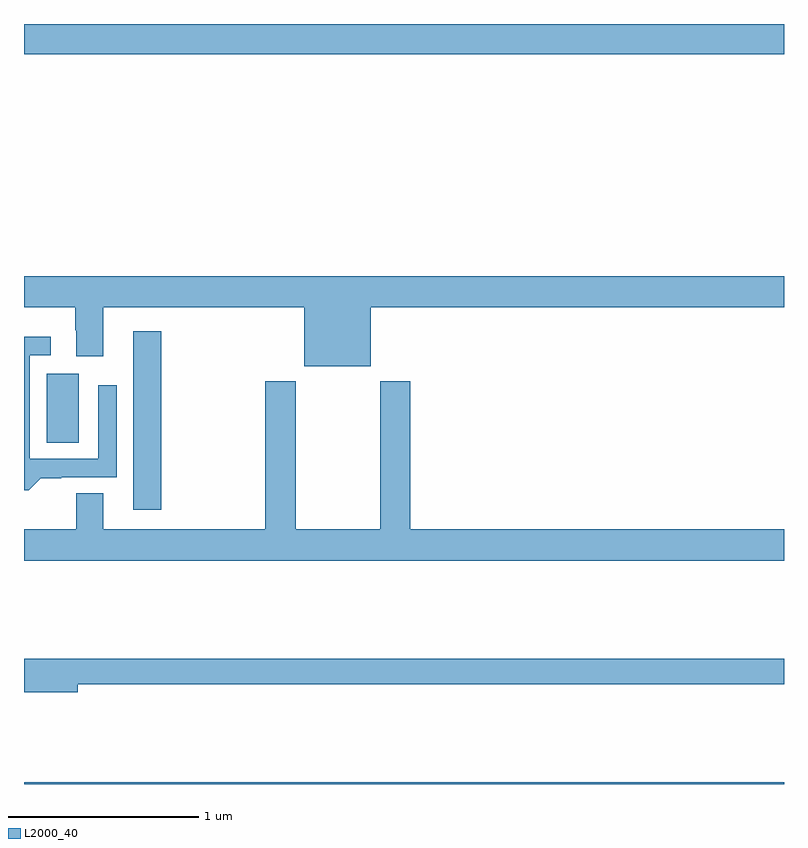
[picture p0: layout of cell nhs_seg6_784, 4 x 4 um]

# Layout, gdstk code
import gdstk
lib = gdstk.Library(unit=1e-6, precision=1e-09)
def R(c, l, rs):  # rectangles x0, y0, x1, y1
    for r in rs: c.add(gdstk.rectangle(r[:2], r[2:], *l))
def P(c, l, *ps):  # polygons
    for p in ps: c.add(gdstk.Polygon(p, *l))
L2000_40 = (2000, 40)

nhs_seg6_784 = lib.new_cell('nhs_seg6_784')
R(nhs_seg6_784, L2000_40, [(161,939.5,165,939.508), (161.576,940.944,161.723,941.884), (161.12,941.296,161.287,941.659), (161,943.34,165,943.5)])
P(nhs_seg6_784, L2000_40, [(162.826,942.008),(165,942.008),(165,942.172),(161,942.172),(161,942.008),(161.269,942.008),(161.269,941.888),(161.276,941.888),(161.276,941.751),(161.416,941.751),(161.416,942.008),(162.476,942.008),(162.476,941.699),(162.826,941.699)],
  [(161.089,941.11),(161.197,941.11),(161.197,941.115),(161.487,941.115),(161.487,941.599),(161.391,941.599),(161.391,941.211),(161.031,941.211),(161.031,941.757),(161.14,941.757),(161.14,941.854),(161,941.854),(161,941.045),(161.024,941.045)],
  [(165,940.84),(163.034,940.84),(163.034,941.62),(162.874,941.62),(162.874,940.84),(162.429,940.84),(162.429,941.62),(162.269,941.62),(162.269,940.84),(161.416,940.84),(161.416,941.03),(161.276,941.03),(161.276,940.84),(161,940.84),(161,940.676),(165,940.676)],
  [(161.284,940.024),(165,940.024),(165,940.16),(161,940.16),(161,939.982),(161.284,939.982)])

lib.write_gds('nhs_seg6_784.gds')
